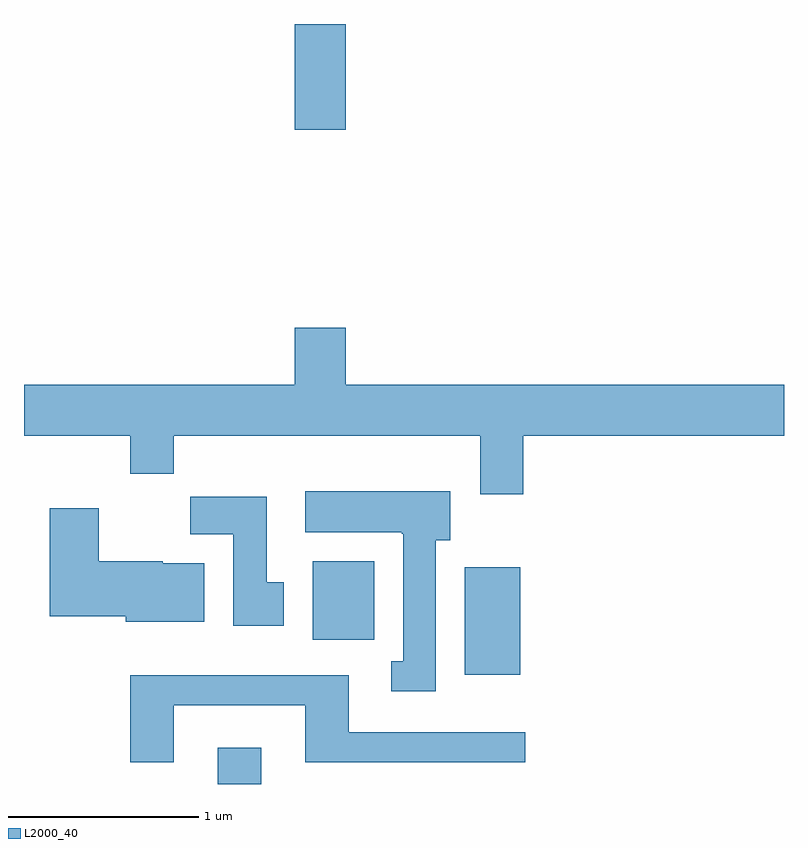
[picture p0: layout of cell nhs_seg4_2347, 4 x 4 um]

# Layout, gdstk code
import gdstk
lib = gdstk.Library(unit=1e-6, precision=1e-09)
def R(c, l, rs):  # rectangles x0, y0, x1, y1
    for r in rs: c.add(gdstk.rectangle(r[:2], r[2:], *l))
def P(c, l, *ps):  # polygons
    for p in ps: c.add(gdstk.Polygon(p, *l))
L2000_40 = (2000, 40)

nhs_seg4_2347 = lib.new_cell('nhs_seg4_2347')
R(nhs_seg4_2347, L2000_40, [(254.631,1323.982,254.859,1324.174), (255.931,1324.556,256.224,1325.124), (255.131,1324.741,255.454,1325.154), (255.036,1327.426,255.304,1327.982)])
P(nhs_seg4_2347, L2000_40, [(256.239,1325.816),(257.611,1325.816),(257.611,1326.084),(255.304,1326.084),(255.304,1326.384),(255.036,1326.384),(255.036,1326.084),(253.611,1326.084),(253.611,1325.816),(254.171,1325.816),(254.171,1325.616),(254.399,1325.616),(254.399,1325.816),(256.011,1325.816),(256.011,1325.506),(256.239,1325.506)],
  [(255.779,1325.266),(255.854,1325.266),(255.854,1325.524),(255.091,1325.524),(255.091,1325.306),(255.6,1325.306),(255.6,1325.3),(255.606,1325.3),(255.606,1324.629),(255.543,1324.629),(255.543,1324.471),(255.779,1324.471)],
  [(254.979,1325.044),(254.889,1325.044),(254.889,1325.494),(254.486,1325.494),(254.486,1325.296),(254.711,1325.296),(254.711,1324.816),(254.979,1324.816)],
  [(254.559,1325.144),(254.34,1325.144),(254.34,1325.154),(254.004,1325.154),(254.004,1325.434),(253.746,1325.434),(253.746,1324.866),(254.146,1324.866),(254.146,1324.836),(254.559,1324.836)],
  [(254.399,1324.396),(255.091,1324.396),(255.091,1324.096),(256.248,1324.096),(256.248,1324.254),(255.319,1324.254),(255.319,1324.554),(254.171,1324.554),(254.171,1324.096),(254.399,1324.096)])

lib.write_gds('nhs_seg4_2347.gds')
